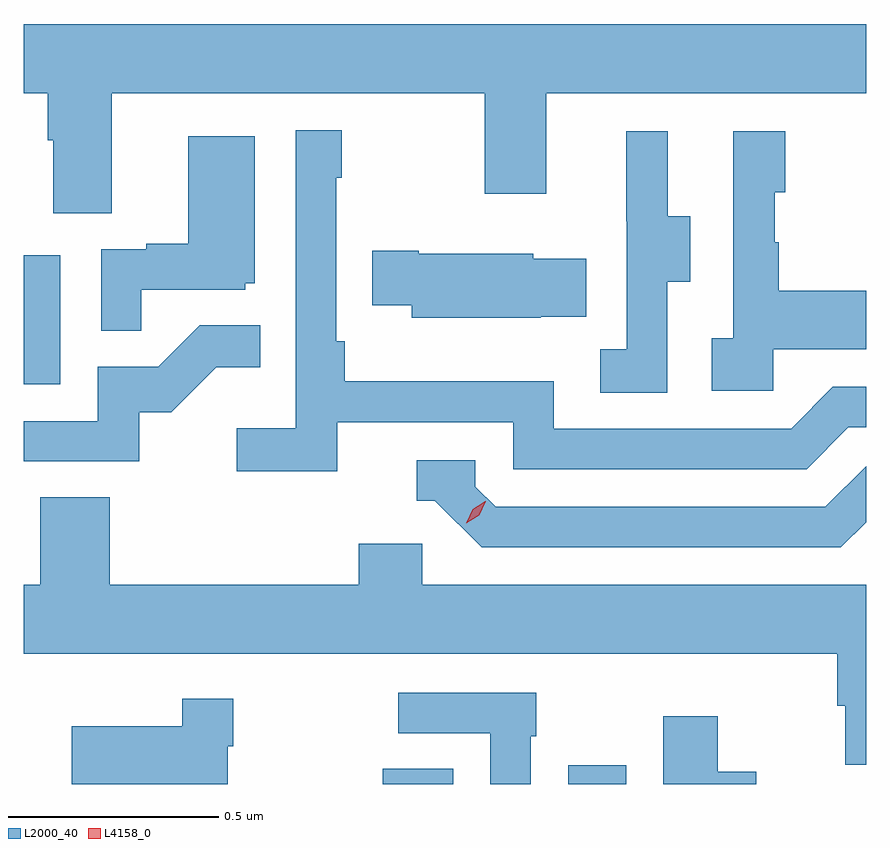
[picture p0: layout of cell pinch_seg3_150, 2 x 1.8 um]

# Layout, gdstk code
import gdstk
lib = gdstk.Library(unit=1e-6, precision=1e-09)
def R(c, l, rs):  # rectangles x0, y0, x1, y1
    for r in rs: c.add(gdstk.rectangle(r[:2], r[2:], *l))
def P(c, l, *ps):  # polygons
    for p in ps: c.add(gdstk.Polygon(p, *l))
L2000_40 = (2000, 40)
L4158_0 = (4158, 0)

pinch_seg3_150 = lib.new_cell('pinch_seg3_150')
R(pinch_seg3_150, L2000_40, [(1102.424,724.583,1102.591,724.619), (1102.865,724.583,1103.002,724.627), (1101.572,725.532,1101.658,725.839)])
P(pinch_seg3_150, L2000_40, [(1101.781,726.224),(1102.666,726.224),(1102.666,725.985),(1102.813,725.985),(1102.813,726.224),(1103.572,726.224),(1103.572,726.388),(1101.572,726.388),(1101.572,726.224),(1101.629,726.224),(1101.629,726.112),(1101.641,726.112),(1101.641,725.938),(1101.781,725.938)],
  [(1102.316,725.442),(1102.734,725.442),(1102.734,725.331),(1103.431,725.331),(1103.53,725.43),(1103.572,725.43),(1103.572,725.526),(1103.493,725.526),(1103.394,725.427),(1102.83,725.427),(1102.83,725.539),(1102.334,725.539),(1102.334,725.635),(1102.314,725.635),(1102.314,726.023),(1102.327,726.023),(1102.327,726.136),(1102.218,726.136),(1102.218,725.428),(1102.077,725.428),(1102.077,725.326),(1102.316,725.326)],
  [(1103.352,725.615),(1103.572,725.615),(1103.572,725.755),(1103.365,725.755),(1103.365,725.87),(1103.355,725.87),(1103.355,725.988),(1103.38,725.988),(1103.38,726.133),(1103.256,726.133),(1103.256,725.642),(1103.205,725.642),(1103.205,725.517),(1103.352,725.517)],
  [(1103.1,725.776),(1103.155,725.776),(1103.155,725.931),(1103.101,725.931),(1103.101,726.133),(1103.003,726.133),(1103.003,725.919),(1103.004,725.919),(1103.004,725.615),(1102.941,725.615),(1102.941,725.512),(1103.1,725.512)],
  [(1101.851,725.757),(1102.098,725.757),(1102.098,725.772),(1102.12,725.772),(1102.12,726.121),(1101.962,726.121),(1101.962,725.866),(1101.863,725.866),(1101.863,725.853),(1101.756,725.853),(1101.756,725.659),(1101.851,725.659)],
  [(1102.799,725.693),(1102.907,725.693),(1102.907,725.83),(1102.782,725.83),(1102.782,725.842),(1102.51,725.842),(1102.51,725.85),(1102.399,725.85),(1102.399,725.72),(1102.493,725.72),(1102.493,725.69),(1102.799,725.69)],
  [(1101.846,725.466),(1101.922,725.466),(1102.029,725.573),(1102.133,725.573),(1102.133,725.672),(1101.989,725.672),(1101.891,725.574),(1101.747,725.574),(1101.747,725.445),(1101.572,725.445),(1101.572,725.349),(1101.846,725.349)],
  [(1103.572,725.205),(1103.572,725.338),(1103.475,725.241),(1102.692,725.241),(1102.644,725.289),(1102.644,725.352),(1102.505,725.352),(1102.505,725.256),(1102.548,725.256),(1102.659,725.145),(1103.512,725.145)],
  [(1103.572,725.056),(1102.518,725.056),(1102.518,725.154),(1102.367,725.154),(1102.367,725.056),(1101.776,725.056),(1101.776,725.264),(1101.611,725.264),(1101.611,725.056),(1101.572,725.056),(1101.572,724.892),(1103.503,724.892),(1103.503,724.769),(1103.522,724.769),(1103.522,724.629),(1103.572,724.629)],
  [(1102.776,724.697),(1102.789,724.697),(1102.789,724.8),(1102.461,724.8),(1102.461,724.704),(1102.68,724.704),(1102.68,724.583),(1102.776,724.583)],
  [(1102.056,724.673),(1102.069,724.673),(1102.069,724.786),(1101.948,724.786),(1101.948,724.72),(1101.686,724.72),(1101.686,724.583),(1102.056,724.583)],
  [(1103.311,724.612),(1103.22,724.612),(1103.22,724.744),(1103.09,724.744),(1103.09,724.583),(1103.311,724.583)])
P(pinch_seg3_150, L4158_0, [(1102.622,725.202),(1102.622,725.202),(1102.638,725.235),(1102.668,725.254),(1102.669,725.254),(1102.669,725.254),(1102.653,725.221),(1102.622,725.202)])

lib.write_gds('pinch_seg3_150.gds')
